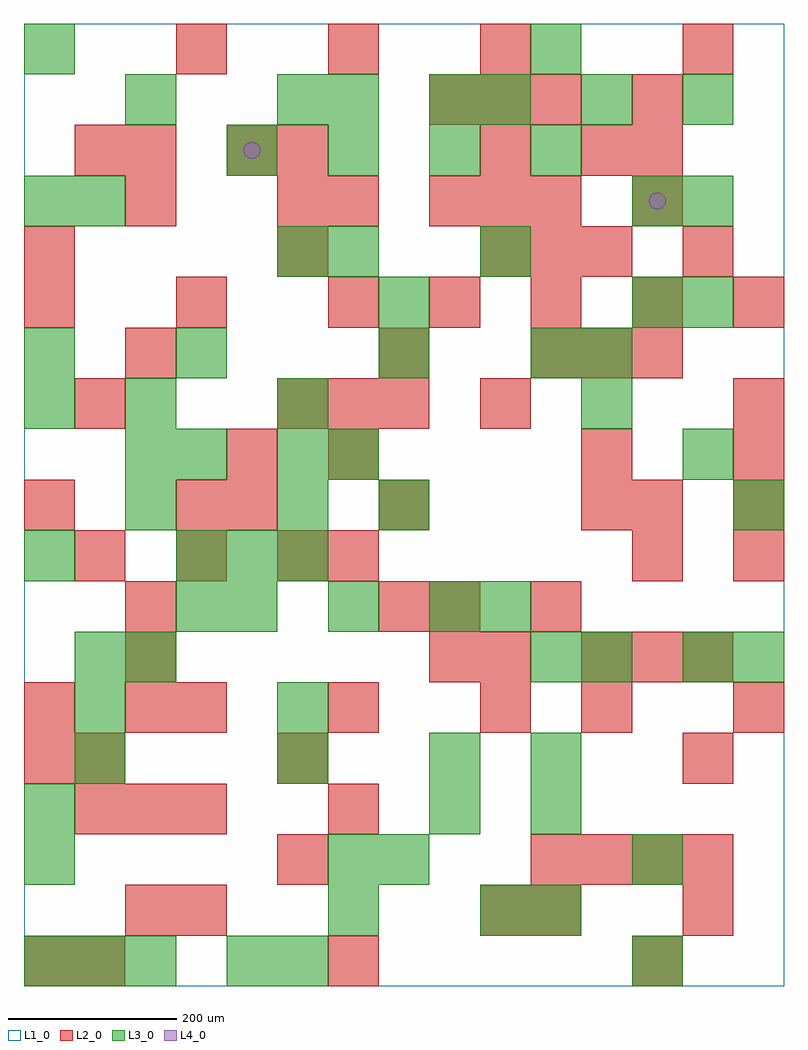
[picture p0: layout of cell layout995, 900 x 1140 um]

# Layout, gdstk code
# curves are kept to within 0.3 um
import gdstk
lib = gdstk.Library(unit=1e-6, precision=1e-09)
def R(c, l, rs):  # rectangles x0, y0, x1, y1
    for r in rs: c.add(gdstk.rectangle(r[:2], r[2:], *l))
def A(c, l, x, y, w, h, nx, ny, dx, dy):  # array of equal rectangles
    R(c, l, [(x+i*dx, y+j*dy, x+i*dx+w, y+j*dy+h) for i in range(nx) for j in range(ny)])
def P(c, l, *ps):  # polygons
    for p in ps: c.add(gdstk.Polygon(p, *l))
L1_0 = (1, 0)
L2_0 = (2, 0)
L3_0 = (3, 0)
L4_0 = (4, 0)

layout995 = lib.new_cell('layout995')
R(layout995, L1_0, [(0,0,900,1140)])
A(layout995, L2_0, 540, 60, 60, 60, 1, 4, 0, 300)
A(layout995, L2_0, 600, 120, 60, 60, 4, 1, 60, 0)
A(layout995, L2_0, 60, 180, 60, 60, 3, 1, 60, 0)
A(layout995, L2_0, 120, 300, 60, 60, 1, 3, 0, 60)
A(layout995, L2_0, 180, 300, 60, 60, 3, 2, 180, 780)
A(layout995, L2_0, 660, 360, 60, 60, 3, 1, 60, 0)
A(layout995, L2_0, 60, 480, 60, 60, 3, 1, 120, 0)
A(layout995, L2_0, 840, 480, 60, 60, 1, 4, 0, 60)
A(layout995, L2_0, 300, 660, 60, 60, 3, 1, 60, 0)
A(layout995, L2_0, 600, 720, 60, 60, 3, 1, 60, 0)
A(layout995, L2_0, 0, 780, 60, 60, 3, 1, 180, 0)
A(layout995, L2_0, 480, 780, 60, 60, 4, 1, 120, 0)
A(layout995, L2_0, 300, 840, 60, 60, 1, 3, 0, 60)
A(layout995, L2_0, 540, 840, 60, 60, 3, 1, 60, 0)
A(layout995, L2_0, 480, 900, 60, 60, 3, 2, 60, 120)
A(layout995, L2_0, 720, 900, 60, 60, 1, 3, 0, 60)
R(layout995, L2_0, [(0,0,60,60), (60,0,120,60), (360,0,420,60), (720,0,780,60), (120,60,180,120), (180,60,240,120), (600,60,660,120), (780,60,840,120), (300,120,360,180), (360,180,420,240), (0,240,60,300), (60,240,120,300), (300,240,360,300), (780,240,840,300), (0,300,60,360), (660,300,720,360), (840,300,900,360), (480,360,540,420), (420,420,480,480), (480,420,540,480), (600,420,660,480), (360,480,420,540), (720,480,780,540), (0,540,60,600), (180,540,240,600), (240,540,300,600), (420,540,480,600), (660,540,720,600), (720,540,780,600), (240,600,300,660), (360,600,420,660), (660,600,720,660), (60,660,120,720), (120,720,180,780), (420,720,480,780), (0,840,60,900), (780,840,840,900), (120,900,180,960), (360,900,420,960), (60,960,120,1020), (120,960,180,1020), (240,960,300,1020), (660,960,720,1020), (780,1080,840,1140)])
A(layout995, L3_0, 0, 0, 60, 60, 3, 1, 60, 0)
A(layout995, L3_0, 60, 240, 60, 60, 1, 3, 0, 60)
A(layout995, L3_0, 600, 360, 60, 60, 1, 3, 0, 360)
A(layout995, L3_0, 240, 420, 60, 60, 3, 1, 120, 0)
A(layout995, L3_0, 180, 480, 60, 60, 3, 1, 60, 0)
A(layout995, L3_0, 120, 540, 60, 60, 1, 3, 0, 60)
A(layout995, L3_0, 300, 540, 60, 60, 1, 3, 0, 60)
A(layout995, L3_0, 0, 720, 60, 60, 1, 3, 0, 180)
A(layout995, L3_0, 240, 960, 60, 60, 4, 1, 120, 0)
A(layout995, L3_0, 540, 1020, 60, 60, 3, 1, 120, 0)
R(layout995, L3_0, [(240,0,300,60), (300,0,360,60), (720,0,780,60), (360,60,420,120), (540,60,600,120), (600,60,660,120), (0,120,60,180), (360,120,420,180), (420,120,480,180), (720,120,780,180), (0,180,60,240), (480,180,540,240), (600,180,660,240), (300,240,360,300), (480,240,540,300), (600,240,660,300), (300,300,360,360), (120,360,180,420), (660,360,720,420), (780,360,840,420), (840,360,900,420), (180,420,240,480), (540,420,600,480), (0,480,60,540), (420,540,480,600), (840,540,900,600), (180,600,240,660), (360,600,420,660), (780,600,840,660), (0,660,60,720), (660,660,720,720), (180,720,240,780), (420,720,480,780), (660,720,720,780), (420,780,480,840), (720,780,780,840), (780,780,840,840), (300,840,360,900), (360,840,420,900), (540,840,600,900), (60,900,120,960), (720,900,780,960), (780,900,840,960), (120,1020,180,1080), (300,1020,360,1080), (360,1020,420,1080), (480,1020,540,1080)])
P(layout995, L4_0, [(280,990),(279.239,993.827),(277.071,997.071),(273.827,999.239),(270,1000),(266.173,999.239),(262.929,997.071),(260.761,993.827),(260,990),(260.761,986.173),(262.929,982.929),(266.173,980.761),(270,980),(273.827,980.761),(277.071,982.929),(279.239,986.173)],
  [(760,930),(759.239,933.827),(757.071,937.071),(753.827,939.239),(750,940),(746.173,939.239),(742.929,937.071),(740.761,933.827),(740,930),(740.761,926.173),(742.929,922.929),(746.173,920.761),(750,920),(753.827,920.761),(757.071,922.929),(759.239,926.173)])

lib.write_gds('layout995.gds')
